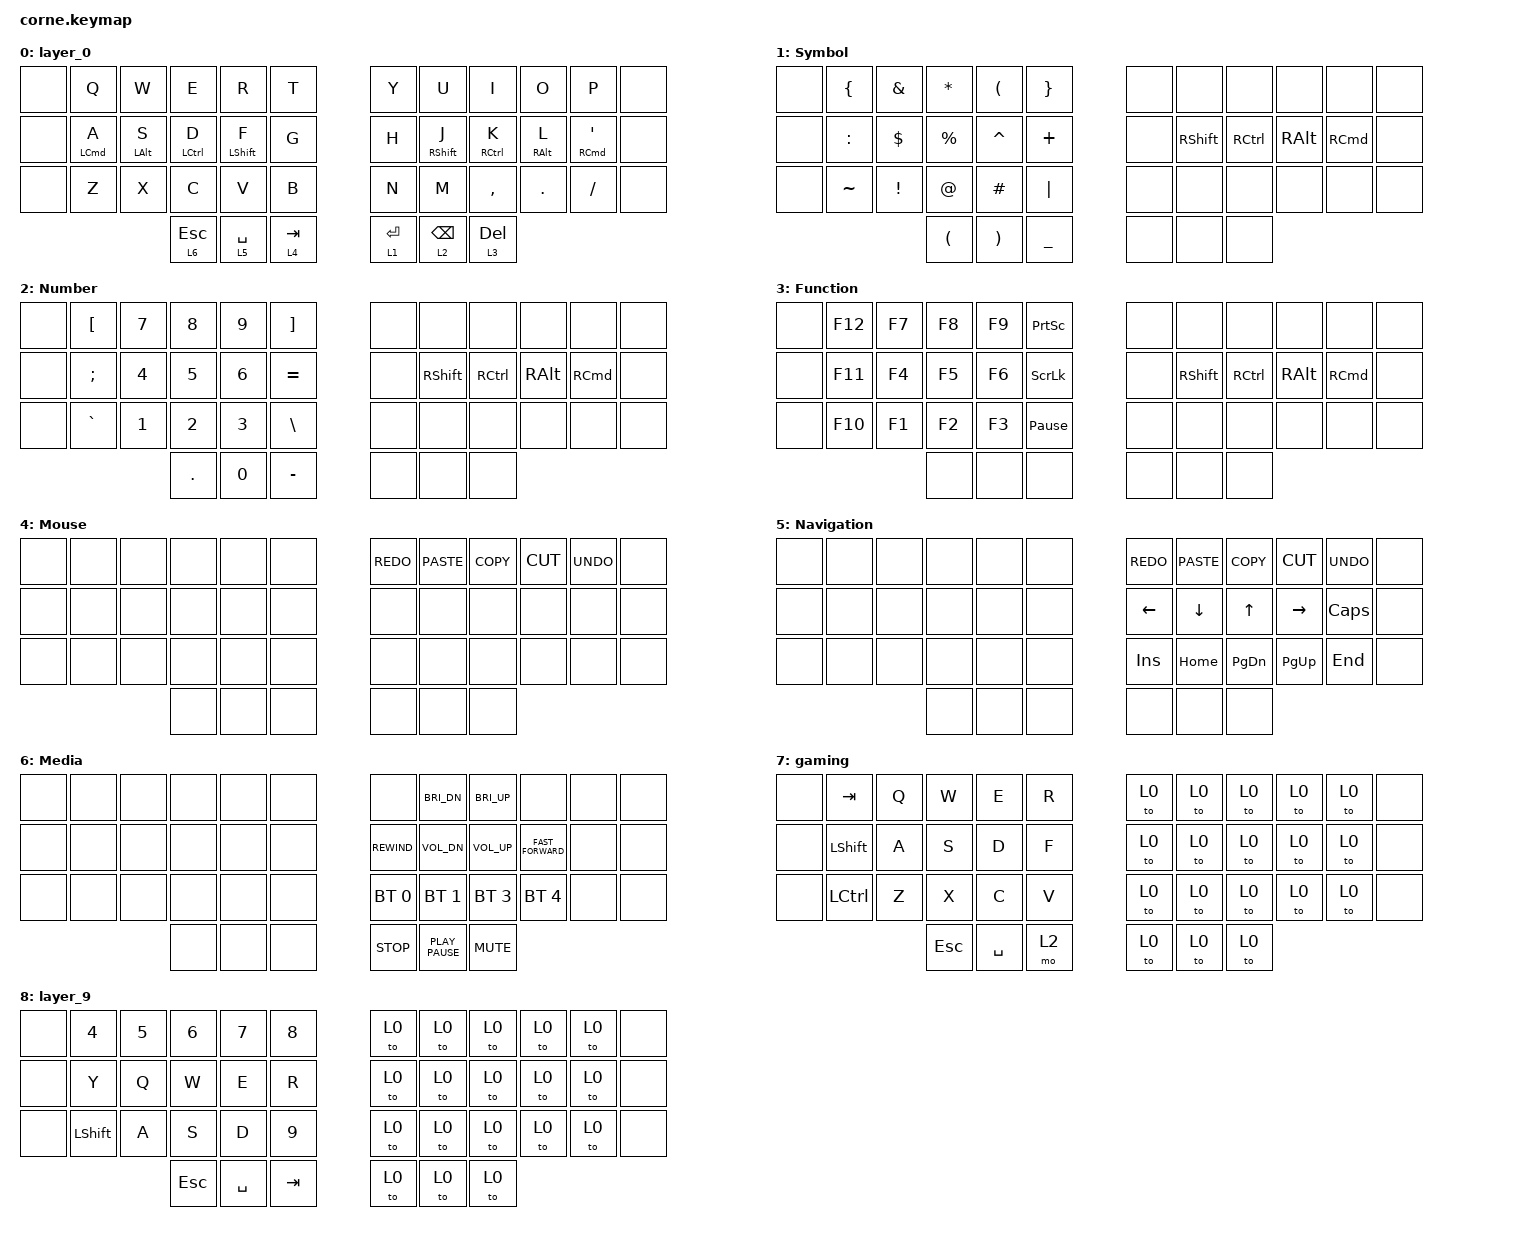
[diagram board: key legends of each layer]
#include <behaviors.dtsi>
#include <dt-bindings/zmk/bt.h>
#include <dt-bindings/zmk/keys.h>

/ {
    behaviors {
        ht: ht {
            compatible = "zmk,behavior-hold-tap";
            label = "HT";
            #binding-cells = <2>;
            tapping-term-ms = <200>;
            bindings = <&kp>, <&kp>;

            flavor = "tap-preferred";
        };

        lht: lht {
            compatible = "zmk,behavior-hold-tap";
            label = "LHT";
            bindings = <&mo>, <&kp>;

            #binding-cells = <2>;
            tapping-term-ms = <200>;
            flavor = "tap-preferred";
        };

        rht: rht {
            compatible = "zmk,behavior-hold-tap";
            label = "RHT";
            bindings = <&kp>, <&kp>;

            #binding-cells = <2>;
            flavor = "tap-preferred";
            tapping-term-ms = <200>;
        };
    };

    combos {
        compatible = "zmk,combos";

        toGaming {
            bindings = <&to 7>;
            key-positions = <36 41>;
            layers = <0>;
        };

        copy {
            bindings = <&kp LG(C)>;
            key-positions = <25 26>;
            layers = <0>;
        };

        paste {
            bindings = <&kp LG(V)>;
            key-positions = <26 27>;
            layers = <0>;
        };

        deletecopy {
            bindings = <&kp LG(X)>;
            key-positions = <27 28>;
            layers = <0>;
        };

        semicolon {
            bindings = <&kp SEMI>;
            key-positions = <33 32>;
            layers = <0>;
        };
    };

    keymap {
        compatible = "zmk,keymap";

        layer_0 {
            bindings = <
&none  &kp Q               &kp W           &kp E               &kp R             &kp T         &kp Y       &kp U               &kp I                 &kp O             &kp P                   &none
&none  &ht LEFT_COMMAND A  &ht LEFT_ALT S  &ht LEFT_CONTROL D  &ht LEFT_SHIFT F  &kp G         &kp H       &rht RIGHT_SHIFT J  &rht RIGHT_CONTROL K  &rht RIGHT_ALT L  &rht RIGHT_COMMAND SQT  &none
&none  &kp Z               &kp X           &kp C               &kp V             &kp B         &kp N       &kp M               &kp COMMA             &kp DOT           &kp FSLH                &none
                                           &lht 6 ESC          &lht 5 SPACE      &lht 4 TAB    &lht 1 RET  &lht 2 BACKSPACE    &lht 3 DELETE
            >;
        };

        Symbol {
            bindings = <
&none  &kp LEFT_BRACE  &kp AMPERSAND  &kp ASTERISK  &kp LEFT_PARENTHESIS  &kp RBRC     &none  &none            &none              &none          &none              &none
&none  &kp COLON       &kp DLLR       &kp PRCNT     &kp CARET             &kp PLUS     &none  &kp RIGHT_SHIFT  &kp RIGHT_CONTROL  &kp RIGHT_ALT  &kp RIGHT_COMMAND  &none
&none  &kp TILDE       &kp EXCL       &kp AT        &kp POUND             &kp PIPE     &none  &none            &none              &none          &none              &none
                                      &kp LPAR      &kp RPAR              &kp UNDER    &none  &none            &none
            >;
        };

        Number {
            bindings = <
&none  &kp LBKT   &kp N7  &kp N8   &kp N9  &kp RBKT     &none  &none            &none              &none          &none              &none
&none  &kp SEMI   &kp N4  &kp N5   &kp N6  &kp EQUAL    &none  &kp RIGHT_SHIFT  &kp RIGHT_CONTROL  &kp RIGHT_ALT  &kp RIGHT_COMMAND  &none
&none  &kp GRAVE  &kp N1  &kp N2   &kp N3  &kp BSLH     &none  &none            &none              &none          &none              &none
                          &kp DOT  &kp N0  &kp MINUS    &none  &none            &none
            >;
        };

        Function {
            bindings = <
&none  &kp F12  &kp F7  &kp F8  &kp F9  &kp PRINTSCREEN    &none  &none            &none              &none          &none              &none
&none  &kp F11  &kp F4  &kp F5  &kp F6  &kp SCROLLLOCK     &none  &kp RIGHT_SHIFT  &kp RIGHT_CONTROL  &kp RIGHT_ALT  &kp RIGHT_COMMAND  &none
&none  &kp F10  &kp F1  &kp F2  &kp F3  &kp PAUSE_BREAK    &none  &none            &none              &none          &none              &none
                        &none   &none   &none              &none  &none            &none
            >;
        };

        Mouse {
            bindings = <
&none  &none  &none  &none  &none  &none    &kp K_REDO  &kp K_PASTE  &kp K_COPY  &kp K_CUT  &kp K_UNDO  &none
&none  &none  &none  &none  &none  &none    &none       &none        &none       &none      &none       &none
&none  &none  &none  &none  &none  &none    &none       &none        &none       &none      &none       &none
                     &none  &none  &none    &none       &none        &none
            >;
        };

        Navigation {
            bindings = <
&none  &none  &none  &none  &none  &none    &kp K_REDO  &kp K_PASTE     &kp K_COPY     &kp K_CUT    &kp K_UNDO    &none
&none  &none  &none  &none  &none  &none    &kp LEFT    &kp DOWN_ARROW  &kp UP_ARROW   &kp RIGHT    &kp CAPSLOCK  &none
&none  &none  &none  &none  &none  &none    &kp INSERT  &kp HOME        &kp PAGE_DOWN  &kp PAGE_UP  &kp END       &none
                     &none  &none  &none    &none       &none           &none
            >;
        };

        Media {
            bindings = <
&none  &none  &none  &none  &none  &none    &none         &kp C_BRI_DN      &kp C_BRI_UP  &none               &none  &none
&none  &none  &none  &none  &none  &none    &kp C_REWIND  &kp C_VOL_DN      &kp C_VOL_UP  &kp C_FAST_FORWARD  &none  &none
&none  &none  &none  &none  &none  &none    &bt BT_SEL 0  &bt BT_SEL 1      &bt BT_SEL 3  &bt BT_SEL 4        &none  &none
                     &none  &none  &none    &kp K_STOP    &kp K_PLAY_PAUSE  &kp K_MUTE
            >;
        };

        gaming {
            bindings = <
&none  &kp TAB           &kp Q  &kp W       &kp E      &kp R    &to 0  &to 0  &to 0  &to 0  &to 0  &none
&none  &kp LEFT_SHIFT    &kp A  &kp S       &kp D      &kp F    &to 0  &to 0  &to 0  &to 0  &to 0  &none
&none  &kp LEFT_CONTROL  &kp Z  &kp X       &kp C      &kp V    &to 0  &to 0  &to 0  &to 0  &to 0  &none
                                &kp ESCAPE  &kp SPACE  &mo 2    &to 0  &to 0  &to 0
            >;
        };

        layer_9 {
            bindings = <
&none  &kp N4          &kp N5  &kp NUMBER_6  &kp N7     &kp N8     &to 0  &to 0  &to 0  &to 0  &to 0  &none
&none  &kp Y           &kp Q   &kp W         &kp E      &kp R      &to 0  &to 0  &to 0  &to 0  &to 0  &none
&none  &kp LEFT_SHIFT  &kp A   &kp S         &kp D      &kp N9     &to 0  &to 0  &to 0  &to 0  &to 0  &none
                               &kp ESCAPE    &kp SPACE  &kp TAB    &to 0  &to 0  &to 0
            >;
        };
    };
};
